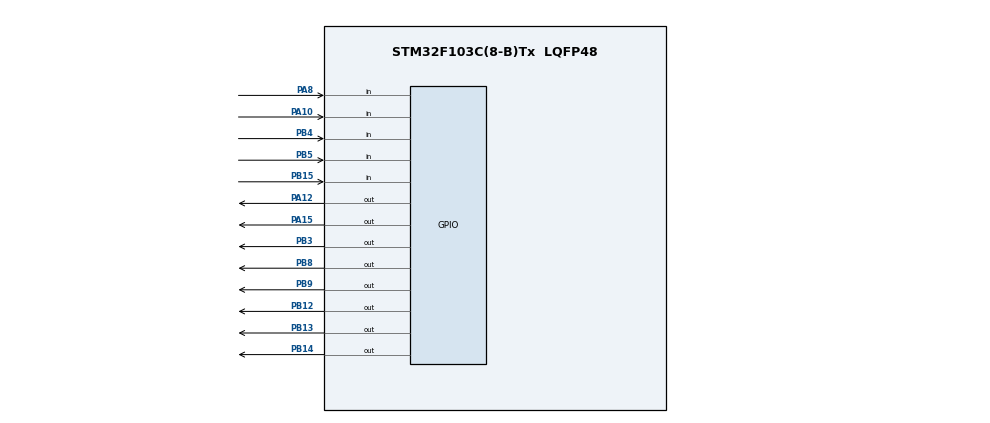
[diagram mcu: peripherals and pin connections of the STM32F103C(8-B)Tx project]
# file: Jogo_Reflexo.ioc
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Mcu.Family=STM32F1
Mcu.Name=STM32F103C(8-B)Tx
Mcu.Package=LQFP48
NVIC.PriorityGroup=NVIC_PRIORITYGROUP_4
PA10.Signal=GPIO_Input
PA12.Signal=GPIO_Output
PA13.Mode=Serial_Wire
PA13.Signal=SYS_JTMS-SWDIO
PA14.Mode=Serial_Wire
PA14.Signal=SYS_JTCK-SWCLK
PA15.Signal=GPIO_Output
PA8.Signal=GPIO_Input
PB12.Signal=GPIO_Output
PB13.Signal=GPIO_Output
PB14.Signal=GPIO_Output
PB15.Signal=GPIO_Input
PB3.Signal=GPIO_Output
PB4.Signal=GPIO_Input
PB5.Signal=GPIO_Input
PB8.Signal=GPIO_Output
PB9.Signal=GPIO_Output
ProjectManager.HeapSize=0x200
ProjectManager.StackSize=0x400
ProjectManager.TargetToolchain=STM32CubeIDE
RCC.APB1Freq_Value=8000000
RCC.APB2Freq_Value=8000000
board=custom

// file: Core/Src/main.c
/* USER CODE BEGIN Header */
/**
  ******************************************************************************
  * @file           : main.c
  * @brief          : Main program body
  ******************************************************************************
  * @attention
  *
  * <h2><center>&copy; Copyright (c) 2022 STMicroelectronics.
  * All rights reserved.</center></h2>
  *
  * This software component is licensed by ST under BSD 3-Clause license,
  * the "License"; You may not use this file except in compliance with the
  * License. You may obtain a copy of the License at:
  *                        opensource.org/licenses/BSD-3-Clause
  *
  ******************************************************************************
  */
/* USER CODE END Header */
#include "main.h"

void SystemClock_Config(void);
static void MX_GPIO_Init(void);
/* USER CODE BEGIN PFP */

//DECLARAÇÃO DAS FUNÇÕES

/* USER CODE END PFP */

int main(void)
{

  /* MCU Configuration--------------------------------------------------------*/

  /* Reset of all peripherals, Initializes the Flash interface and the Systick. */
  HAL_Init();

  /* Configure the system clock */
  SystemClock_Config();

  /* Initialize all configured peripherals */
  MX_GPIO_Init();
  /* USER CODE BEGIN 2 */
  //SETUP

	   HAL_GPIO_WritePin(GPIOB,GPIO_PIN_12, 1);
	   HAL_Delay(100);
	   HAL_GPIO_WritePin(GPIOB,GPIO_PIN_12, 0);
	   HAL_GPIO_WritePin(GPIOB,GPIO_PIN_13, 1);
	   HAL_Delay(100);
	   HAL_GPIO_WritePin(GPIOB,GPIO_PIN_13, 0);
	   HAL_GPIO_WritePin(GPIOB,GPIO_PIN_14, 1);
	   HAL_Delay(100);
	   HAL_GPIO_WritePin(GPIOB,GPIO_PIN_14, 0);
	   HAL_GPIO_WritePin(GPIOA,GPIO_PIN_12, 1);
	   HAL_Delay(100);
	   HAL_GPIO_WritePin(GPIOA,GPIO_PIN_12, 0);
	   HAL_GPIO_WritePin(GPIOA,GPIO_PIN_15, 1);
	   HAL_Delay(100);
	   HAL_GPIO_WritePin(GPIOA,GPIO_PIN_15, 0);
	   HAL_GPIO_WritePin(GPIOB,GPIO_PIN_3, 1);
	   HAL_Delay(100);
	   HAL_GPIO_WritePin(GPIOB,GPIO_PIN_3, 0);
	   HAL_GPIO_WritePin(GPIOB,GPIO_PIN_8, 1);
	   HAL_Delay(100);
	   HAL_GPIO_WritePin(GPIOB,GPIO_PIN_8, 0);
	   HAL_GPIO_WritePin(GPIOB,GPIO_PIN_9, 1);
	   HAL_Delay(100);
	   HAL_GPIO_WritePin(GPIOB,GPIO_PIN_9, 0);

  /* USER CODE END 2 */

  /* Infinite loop */
  /* USER CODE BEGIN WHILE */
  while (1)
  {
	       //LEDS do jogo
	      //LED 01 HAL_GPIO_WritePin(GPIOB,GPIO_PIN_8, 1);
	     //LED 02 HAL_GPIO_WritePin(GPIOB,GPIO_PIN_9, 1);

	  	  	  //LEDS AMARELOS
	  	  	  // HAL_GPIO_WritePin(GPIOB,GPIO_PIN_12, 1); LED 1
		  	  // HAL_GPIO_WritePin(GPIOB,GPIO_PIN_13, 1); LED 2
		  	  // HAL_GPIO_WritePin(GPIOB,GPIO_PIN_14, 1); LED 3

			  //LEDS VERDES
			  // HAL_GPIO_WritePin(GPIOA,GPIO_PIN_12, 1); LED 1
			  // HAL_GPIO_WritePin(GPIOA,GPIO_PIN_15, 1); LED 2
			  // HAL_GPIO_WritePin(GPIOB,GPIO_PIN_3, 1); LED 3

	  //BOTAO do LED 01 Player 1 HAL_GPIO_ReadPin(GPIOB, GPIO_PIN_15) == 1
	  //BOTAO do LED 02 Player 1 HAL_GPIO_ReadPin(GPIOA, GPIO_PIN_8) == 1

	  //BOTAO do LED 01 Player 2 HAL_GPIO_ReadPin(GPIOB, GPIO_PIN_3) == 1
	  //BOTAO do LED 02 Player 2 HAL_GPIO_ReadPin(GPIOB, GPIO_PIN_4) == 1

	  //BOTAO DE INICIO  HAL_GPIO_ReadPin(GPIOA, GPIO_PIN_10) == 1

		  	  //BOTAO VERMELHO: HAL_GPIO_ReadPin(GPIOB, GPIO_PIN_0) == 1  BOTAO 0
		  	  //BOTAO AZUL: HAL_GPIO_ReadPin(GPIOB, GPIO_PIN_1) == 1     BOTAO 1
		  	  //BOTAO VERDE: HAL_GPIO_ReadPin(GPIOB, GPIO_PIN_10) == 1   BOTAO 2
		  	  //BOTAO AMARELO: HAL_GPIO_ReadPin(GPIOB, GPIO_PIN_11) == 1  BOTAO 3

    /* USER CODE END WHILE */

  }
}

void SystemClock_Config(void)
{
  RCC_OscInitTypeDef RCC_OscInitStruct = {0};
  RCC_ClkInitTypeDef RCC_ClkInitStruct = {0};

  /** Initializes the RCC Oscillators according to the specified parameters
  * in the RCC_OscInitTypeDef structure.
  */
  RCC_OscInitStruct.OscillatorType = RCC_OSCILLATORTYPE_HSI;
  RCC_OscInitStruct.HSIState = RCC_HSI_ON;
  RCC_OscInitStruct.HSICalibrationValue = RCC_HSICALIBRATION_DEFAULT;
  RCC_OscInitStruct.PLL.PLLState = RCC_PLL_NONE;
  if (HAL_RCC_OscConfig(&RCC_OscInitStruct) != HAL_OK)
  {
    Error_Handler();
  }
  /** Initializes the CPU, AHB and APB buses clocks
  */
  RCC_ClkInitStruct.ClockType = RCC_CLOCKTYPE_HCLK|RCC_CLOCKTYPE_SYSCLK
                              |RCC_CLOCKTYPE_PCLK1|RCC_CLOCKTYPE_PCLK2;
  RCC_ClkInitStruct.SYSCLKSource = RCC_SYSCLKSOURCE_HSI;
  RCC_ClkInitStruct.AHBCLKDivider = RCC_SYSCLK_DIV1;
  RCC_ClkInitStruct.APB1CLKDivider = RCC_HCLK_DIV1;
  RCC_ClkInitStruct.APB2CLKDivider = RCC_HCLK_DIV1;

  if (HAL_RCC_ClockConfig(&RCC_ClkInitStruct, FLASH_LATENCY_0) != HAL_OK)
  {
    Error_Handler();
  }
}

static void MX_GPIO_Init(void)
{
  GPIO_InitTypeDef GPIO_InitStruct = {0};

  /* GPIO Ports Clock Enable */
  __HAL_RCC_GPIOB_CLK_ENABLE();
  __HAL_RCC_GPIOA_CLK_ENABLE();

  /*Configure GPIO pin Output Level */
  HAL_GPIO_WritePin(GPIOB, GPIO_PIN_12|GPIO_PIN_13|GPIO_PIN_14|GPIO_PIN_3
                          |GPIO_PIN_8|GPIO_PIN_9, GPIO_PIN_RESET);

  /*Configure GPIO pin Output Level */
  HAL_GPIO_WritePin(GPIOA, GPIO_PIN_12|GPIO_PIN_15, GPIO_PIN_RESET);

  /*Configure GPIO pins : PB12 PB13 PB14 PB3
                           PB8 PB9 */
  GPIO_InitStruct.Pin = GPIO_PIN_12|GPIO_PIN_13|GPIO_PIN_14|GPIO_PIN_3
                          |GPIO_PIN_8|GPIO_PIN_9;
  GPIO_InitStruct.Mode = GPIO_MODE_OUTPUT_PP;
  GPIO_InitStruct.Pull = GPIO_NOPULL;
  GPIO_InitStruct.Speed = GPIO_SPEED_FREQ_LOW;
  HAL_GPIO_Init(GPIOB, &GPIO_InitStruct);

  /*Configure GPIO pins : PB15 PB4 PB5 */
  GPIO_InitStruct.Pin = GPIO_PIN_15|GPIO_PIN_4|GPIO_PIN_5;
  GPIO_InitStruct.Mode = GPIO_MODE_INPUT;
  GPIO_InitStruct.Pull = GPIO_NOPULL;
  HAL_GPIO_Init(GPIOB, &GPIO_InitStruct);

  /*Configure GPIO pins : PA8 PA10 */
  GPIO_InitStruct.Pin = GPIO_PIN_8|GPIO_PIN_10;
  GPIO_InitStruct.Mode = GPIO_MODE_INPUT;
  GPIO_InitStruct.Pull = GPIO_NOPULL;
  HAL_GPIO_Init(GPIOA, &GPIO_InitStruct);

  /*Configure GPIO pins : PA12 PA15 */
  GPIO_InitStruct.Pin = GPIO_PIN_12|GPIO_PIN_15;
  GPIO_InitStruct.Mode = GPIO_MODE_OUTPUT_PP;
  GPIO_InitStruct.Pull = GPIO_NOPULL;
  GPIO_InitStruct.Speed = GPIO_SPEED_FREQ_LOW;
  HAL_GPIO_Init(GPIOA, &GPIO_InitStruct);

}

/* USER CODE BEGIN 4 */
//FUNÇÕES LOCAIS

/* USER CODE END 4 */

void Error_Handler(void)
{
  __disable_irq();
  while (1)
  {
  }
}

/************************ (C) COPYRIGHT STMicroelectronics *****END OF FILE****/
